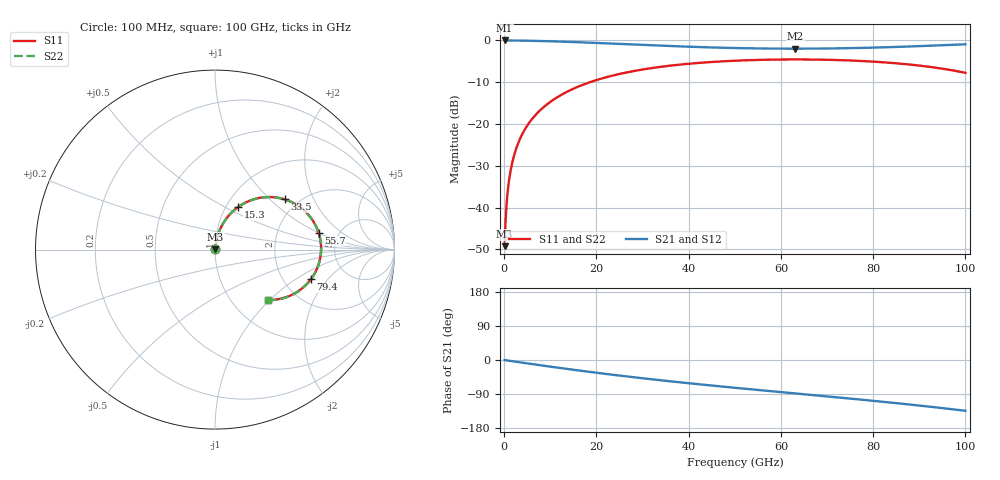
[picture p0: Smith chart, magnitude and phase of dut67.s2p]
! Touchstone file exported from HFSS 2026.1.0
!  File:  C:/ffzhzh/LocalFiles/Ansys_Project_Files/temp_train_RDL_67_1783498551_44152.aedt
!  Generated:  04:17:06 PM Jul  8, 2026
!  Design:  RDL
!  Project:  temp_train_RDL_67_1783498551_44152
! Variables:
!  h_bsmrdl = 2um
!  h_ox = 20um
!  h_rdl = 5um
!  h_sub = 80um
!  h_tmrdl = 4.19um
!  h_tsv = 80um
!  h_via = 3um
!  l_bsmrdl = 300um
!  l_sub = 872.51um
!  l_tmrdl = 472.51um
!  m_sub = 200um
!  pitch = 40.2um
!  r_tsv = 6um
!  s_tmrdl = 10um
!  w_bsmrdl = 18um
!  w_sub = 500um
!  w_tmrdl = 15.07um
!  x_tsv_center1 = 480.045um
!  x_tsv_center2 = 798.045um
!  x_tsv_center3 = 1285.625um
!  x_tsv_center4 = 1603.625um
!  x_tsv_center5 = 2091.205um
!  x_tsv_center6 = 2409.205um
# GHz S MA R 50.000000
! Terminal data exported
! Port[1] = TM_RDL1_1_T1
! Port[2] = TM_RDL1_1_T2
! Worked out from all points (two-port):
!   1000 points, 100 MHz to 100 GHz, reference 50 ohm
!   highest |S21| = -0.02 dB at 100 MHz (marker M1); lowest = -2.0 dB at 63.1 GHz (marker M2)
!   |S21| within 3 dB of the highest: start of sweep to end of sweep
!   lowest |S11| = -49.2 dB at 100 MHz (marker M3), VSWR 1.01, Z = 50.3 + j0.208 ohm
!   |S11| at or under -10 dB: start of sweep to 18.63 GHz
!   |S22| runs from -49.2 to -4.6 dB; largest |S21 - S12| = 1.6e-14
!   S11 on the Smith chart (normalised r, x): 100 MHz: 1.01, +0.00; 15.3 GHz: 1.14, +0.58; 33.5 GHz: 1.70, +1.24; 55.7 GHz: 3.50, +1.01; 79.4 GHz: 2.81, -1.35; 100 GHz: 1.46, -0.98
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0.1  0.003452 36.9  0.9972 -0.2  0.9972 -0.2  0.003452 36.9
! Gamma 0 0 0 0
! Port Impedance 50 0 50 0
0.9  0.01804 77.9  0.9966 -1.6  0.9966 -1.6  0.01804 77.9
1.4  0.02758 80.3  0.9962 -2.5  0.9962 -2.5  0.02758 80.3
1.9  0.03715 80.9  0.9957 -3.4  0.9957 -3.4  0.03715 80.9
2.4  0.0467 80.9  0.995 -4.3  0.995 -4.3  0.0467 80.9
3.8  0.07317 79.6  0.9927 -6.8  0.9927 -6.8  0.07317 79.5
5.8  0.11 76.6  0.9881 -10.3  0.9881 -10.3  0.11 76.6
8.3  0.1544 72.7  0.9808 -14.6  0.9808 -14.6  0.1544 72.7
11.5  0.2084 67.6  0.9694 -20.0  0.9694 -20.0  0.2084 67.6
15.3  0.2682 61.7  0.9535 -26.3  0.9535 -26.3  0.2682 61.6
16.8  0.2904 59.4  0.9467 -28.6  0.9467 -28.6  0.2903 59.3
24.2  0.3871 48.4  0.9107 -39.9  0.9107 -39.9  0.387 48.4
33.4  0.4781 35.9  0.8665 -52.8  0.8665 -52.8  0.478 35.8
33.5  0.4789 35.8  0.866 -52.9  0.866 -52.9  0.4788 35.7
50.1  0.5709 15.7  0.8094 -73.4  0.8094 -73.4  0.5708 15.5
55.7  0.5847 9.4  0.7998 -79.9  0.7998 -79.9  0.5846 9.2
63.1  0.5912 1.2  0.7951 -88.2  0.7951 -88.2  0.5911 1.0
66.7  0.5897 -2.8  0.7962 -92.3  0.7962 -92.3  0.5896 -3.0
79.4  0.5591 -17.2  0.8171 -107.0  0.8171 -107.0  0.559 -17.4
83.4  0.5405 -21.9  0.8288 -111.8  0.8288 -111.8  0.5404 -22.2
92.2  0.4824 -32.9  0.8621 -123.1  0.8621 -123.1  0.4823 -33.1
100  0.409 -43.3  0.8973 -134.0  0.8973 -134.0  0.4089 -43.6
